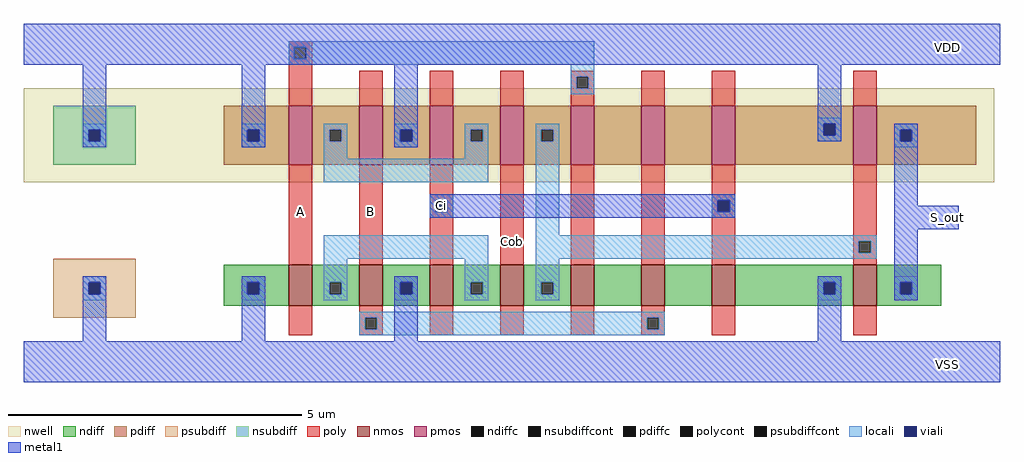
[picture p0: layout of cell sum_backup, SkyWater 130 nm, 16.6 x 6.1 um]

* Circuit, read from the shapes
.subckt sum_backup A B Ci Cob S_out VDD VSS
XM1 n1 A VSS VSS sky130_fd_pr__nfet_01v8 w=0.7 l=0.4
XM2 VSS B n1 VSS sky130_fd_pr__nfet_01v8 w=0.7 l=0.4
XM3 n1 Ci VSS VSS sky130_fd_pr__nfet_01v8 w=0.7 l=0.4
XM4 n2 Cob n1 VSS sky130_fd_pr__nfet_01v8 w=0.7 l=0.4
XM5 n3 A n2 VSS sky130_fd_pr__nfet_01v8 w=0.7 l=0.4
XM6 n4 B n3 VSS sky130_fd_pr__nfet_01v8 w=0.7 l=0.4
XM7 VSS Ci n4 VSS sky130_fd_pr__nfet_01v8 w=0.7 l=0.4
XM8 S_out n2 VSS VSS sky130_fd_pr__nfet_01v8 w=0.7 l=0.4
XM9 n5 A VDD VDD sky130_fd_pr__pfet_01v8 w=1 l=0.4
XM10 VDD B n5 VDD sky130_fd_pr__pfet_01v8 w=1 l=0.4
XM11 n5 Ci VDD VDD sky130_fd_pr__pfet_01v8 w=1 l=0.4
XM12 n2 Cob n5 VDD sky130_fd_pr__pfet_01v8 w=1 l=0.4
XM13 n6 A n2 VDD sky130_fd_pr__pfet_01v8 w=1 l=0.4
XM14 n7 B n6 VDD sky130_fd_pr__pfet_01v8 w=1 l=0.4
XM15 VDD Ci n7 VDD sky130_fd_pr__pfet_01v8 w=1 l=0.4
XM16 S_out n2 VDD VDD sky130_fd_pr__pfet_01v8 w=1 l=0.4
.ends

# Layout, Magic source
magic
tech sky130A
<< nwell >>
rect 2660 30 4310 190
<< nmos >>
rect 3110 -180 3150 -110
rect 3230 -180 3270 -110
rect 3350 -180 3390 -110
rect 3470 -180 3510 -110
rect 3590 -180 3630 -110
rect 3710 -180 3750 -110
rect 3830 -180 3870 -110
rect 4070 -180 4110 -110
<< pmos >>
rect 3110 60 3150 160
rect 3230 60 3270 160
rect 3350 60 3390 160
rect 3470 60 3510 160
rect 3590 60 3630 160
rect 3710 60 3750 160
rect 3830 60 3870 160
rect 4070 60 4110 160
<< ndiff >>
rect 3000 -140 3110 -110
rect 3000 -160 3040 -140
rect 3060 -160 3110 -140
rect 3000 -180 3110 -160
rect 3150 -140 3230 -110
rect 3150 -160 3180 -140
rect 3200 -160 3230 -140
rect 3150 -180 3230 -160
rect 3270 -140 3350 -110
rect 3270 -160 3300 -140
rect 3320 -160 3350 -140
rect 3270 -180 3350 -160
rect 3390 -140 3470 -110
rect 3390 -160 3420 -140
rect 3440 -160 3470 -140
rect 3390 -180 3470 -160
rect 3510 -140 3590 -110
rect 3510 -160 3540 -140
rect 3560 -160 3590 -140
rect 3510 -180 3590 -160
rect 3630 -180 3710 -110
rect 3750 -180 3830 -110
rect 3870 -140 4070 -110
rect 3870 -160 4020 -140
rect 4040 -160 4070 -140
rect 3870 -180 4070 -160
rect 4110 -140 4220 -110
rect 4110 -160 4150 -140
rect 4170 -160 4220 -140
rect 4110 -180 4220 -160
<< pdiff >>
rect 3000 120 3110 160
rect 3000 100 3040 120
rect 3060 100 3110 120
rect 3000 60 3110 100
rect 3150 120 3230 160
rect 3150 100 3180 120
rect 3200 100 3230 120
rect 3150 60 3230 100
rect 3270 120 3350 160
rect 3270 100 3300 120
rect 3320 100 3350 120
rect 3270 60 3350 100
rect 3390 120 3470 160
rect 3390 100 3420 120
rect 3440 100 3470 120
rect 3390 60 3470 100
rect 3510 120 3590 160
rect 3510 100 3540 120
rect 3560 100 3590 120
rect 3510 60 3590 100
rect 3630 60 3710 160
rect 3750 60 3830 160
rect 3870 130 4070 160
rect 3870 110 4020 130
rect 4040 110 4070 130
rect 3870 60 4070 110
rect 4110 120 4280 160
rect 4110 100 4150 120
rect 4170 100 4280 120
rect 4110 60 4280 100
<< ndiffc >>
rect 3040 -160 3060 -140
rect 3180 -160 3200 -140
rect 3300 -160 3320 -140
rect 3420 -160 3440 -140
rect 3540 -160 3560 -140
rect 4020 -160 4040 -140
rect 4150 -160 4170 -140
<< pdiffc >>
rect 3040 100 3060 120
rect 3180 100 3200 120
rect 3300 100 3320 120
rect 3420 100 3440 120
rect 3540 100 3560 120
rect 4020 110 4040 130
rect 4150 100 4170 120
<< psubdiff >>
rect 2710 -140 2850 -100
rect 2710 -160 2770 -140
rect 2790 -160 2850 -140
rect 2710 -200 2850 -160
<< nsubdiff >>
rect 2710 120 2850 160
rect 2710 100 2770 120
rect 2790 100 2850 120
rect 2710 60 2850 100
<< psubdiffcont >>
rect 2770 -160 2790 -140
<< nsubdiffcont >>
rect 2770 100 2790 120
<< poly >>
rect 3110 260 3150 270
rect 3110 240 3120 260
rect 3140 240 3150 260
rect 3110 160 3150 240
rect 3230 160 3270 220
rect 3350 160 3390 220
rect 3470 160 3510 220
rect 3590 210 3630 220
rect 3590 190 3600 210
rect 3620 190 3630 210
rect 3590 160 3630 190
rect 3710 160 3750 220
rect 3830 160 3870 220
rect 4070 160 4110 220
rect 3110 -110 3150 60
rect 3230 -110 3270 60
rect 3350 0 3390 60
rect 3350 -20 3360 0
rect 3380 -20 3390 0
rect 3350 -110 3390 -20
rect 3470 -110 3510 60
rect 3590 -110 3630 60
rect 3710 -110 3750 60
rect 3830 0 3870 60
rect 3830 -20 3840 0
rect 3860 -20 3870 0
rect 3830 -110 3870 -20
rect 4070 -70 4110 60
rect 4070 -90 4080 -70
rect 4100 -90 4110 -70
rect 4070 -110 4110 -90
rect 3110 -230 3150 -180
rect 3230 -200 3270 -180
rect 3230 -220 3240 -200
rect 3260 -220 3270 -200
rect 3230 -230 3270 -220
rect 3350 -230 3390 -180
rect 3470 -230 3510 -180
rect 3590 -230 3630 -180
rect 3710 -200 3750 -180
rect 3710 -220 3720 -200
rect 3740 -220 3750 -200
rect 3710 -230 3750 -220
rect 3830 -230 3870 -180
rect 4070 -230 4110 -180
<< polycont >>
rect 3120 240 3140 260
rect 3600 190 3620 210
rect 3360 -20 3380 0
rect 3840 -20 3860 0
rect 4080 -90 4100 -70
rect 3240 -220 3260 -200
rect 3720 -220 3740 -200
<< locali >>
rect 3110 260 3630 270
rect 3110 240 3120 260
rect 3140 240 3630 260
rect 3110 230 3630 240
rect 3590 210 3630 230
rect 3590 190 3600 210
rect 3620 190 3630 210
rect 3590 180 3630 190
rect 4010 130 4050 140
rect 2760 120 2800 130
rect 2760 100 2770 120
rect 2790 100 2800 120
rect 2760 90 2800 100
rect 3030 120 3070 130
rect 3030 100 3040 120
rect 3060 100 3070 120
rect 3030 90 3070 100
rect 3170 120 3210 130
rect 3170 100 3180 120
rect 3200 100 3210 120
rect 3170 70 3210 100
rect 3290 120 3330 130
rect 3290 100 3300 120
rect 3320 100 3330 120
rect 3290 90 3330 100
rect 3410 120 3450 130
rect 3410 100 3420 120
rect 3440 100 3450 120
rect 3410 70 3450 100
rect 3170 30 3450 70
rect 3530 120 3570 130
rect 3530 100 3540 120
rect 3560 100 3570 120
rect 4010 110 4020 130
rect 4040 110 4050 130
rect 4010 100 4050 110
rect 4140 120 4180 130
rect 4140 100 4150 120
rect 4170 100 4180 120
rect 3350 0 3390 10
rect 3350 -20 3360 0
rect 3380 -20 3390 0
rect 3350 -30 3390 -20
rect 3530 -60 3570 100
rect 4140 90 4180 100
rect 3830 0 3870 10
rect 3830 -20 3840 0
rect 3860 -20 3870 0
rect 3830 -30 3870 -20
rect 3170 -100 3450 -60
rect 2760 -140 2800 -130
rect 2760 -160 2770 -140
rect 2790 -160 2800 -140
rect 2760 -170 2800 -160
rect 3030 -140 3070 -130
rect 3030 -160 3040 -140
rect 3060 -160 3070 -140
rect 3030 -170 3070 -160
rect 3170 -140 3210 -100
rect 3170 -160 3180 -140
rect 3200 -160 3210 -140
rect 3170 -170 3210 -160
rect 3290 -140 3330 -130
rect 3290 -160 3300 -140
rect 3320 -160 3330 -140
rect 3290 -170 3330 -160
rect 3410 -140 3450 -100
rect 3410 -160 3420 -140
rect 3440 -160 3450 -140
rect 3410 -170 3450 -160
rect 3530 -70 4110 -60
rect 3530 -90 4080 -70
rect 4100 -90 4110 -70
rect 3530 -100 4110 -90
rect 3530 -140 3570 -100
rect 3530 -160 3540 -140
rect 3560 -160 3570 -140
rect 3530 -170 3570 -160
rect 4010 -140 4050 -130
rect 4010 -160 4020 -140
rect 4040 -160 4050 -140
rect 4010 -170 4050 -160
rect 4140 -140 4180 -130
rect 4140 -160 4150 -140
rect 4170 -160 4180 -140
rect 4140 -170 4180 -160
rect 3230 -200 3750 -190
rect 3230 -220 3240 -200
rect 3260 -220 3720 -200
rect 3740 -220 3750 -200
rect 3230 -230 3750 -220
<< viali >>
rect 2770 100 2790 120
rect 3040 100 3060 120
rect 3300 100 3320 120
rect 4020 110 4040 130
rect 4150 100 4170 120
rect 3360 -20 3380 0
rect 3840 -20 3860 0
rect 2770 -160 2790 -140
rect 3040 -160 3060 -140
rect 3300 -160 3320 -140
rect 4020 -160 4040 -140
rect 4150 -160 4170 -140
<< metal1 >>
rect 2660 230 4320 300
rect 2760 120 2800 230
rect 2760 100 2770 120
rect 2790 100 2800 120
rect 2760 90 2800 100
rect 3030 120 3070 230
rect 3030 100 3040 120
rect 3060 100 3070 120
rect 3030 90 3070 100
rect 3290 120 3330 230
rect 3290 100 3300 120
rect 3320 100 3330 120
rect 4010 130 4050 230
rect 4010 110 4020 130
rect 4040 110 4050 130
rect 4010 100 4050 110
rect 4140 120 4180 130
rect 4140 100 4150 120
rect 4170 100 4180 120
rect 3290 90 3330 100
rect 3350 0 3870 10
rect 3350 -20 3360 0
rect 3380 -20 3840 0
rect 3860 -20 3870 0
rect 3350 -30 3870 -20
rect 4140 -10 4180 100
rect 4140 -50 4250 -10
rect 2760 -140 2800 -130
rect 2760 -160 2770 -140
rect 2790 -160 2800 -140
rect 2760 -240 2800 -160
rect 3030 -140 3070 -130
rect 3030 -160 3040 -140
rect 3060 -160 3070 -140
rect 3030 -240 3070 -160
rect 3290 -140 3330 -130
rect 3290 -160 3300 -140
rect 3320 -160 3330 -140
rect 3290 -240 3330 -160
rect 4010 -140 4050 -130
rect 4010 -160 4020 -140
rect 4040 -160 4050 -140
rect 4010 -240 4050 -160
rect 4140 -140 4180 -50
rect 4140 -160 4150 -140
rect 4170 -160 4180 -140
rect 4140 -170 4180 -160
rect 2660 -310 4320 -240
<< labels >>
rlabel poly 3120 -30 3140 -10 1 A
port 1 n
rlabel poly 3240 -30 3260 -10 1 B
port 2 n
rlabel metal1 3360 -20 3380 0 1 Ci
port 3 n
rlabel poly 3480 -80 3500 -60 1 Cob
port 4 n
rlabel metal1 4220 -40 4240 -20 1 S_out
port 5 n
rlabel metal1 4220 250 4240 270 1 VDD
port 6 n
rlabel metal1 4220 -290 4240 -270 1 VSS
port 7 n
<< end >>
